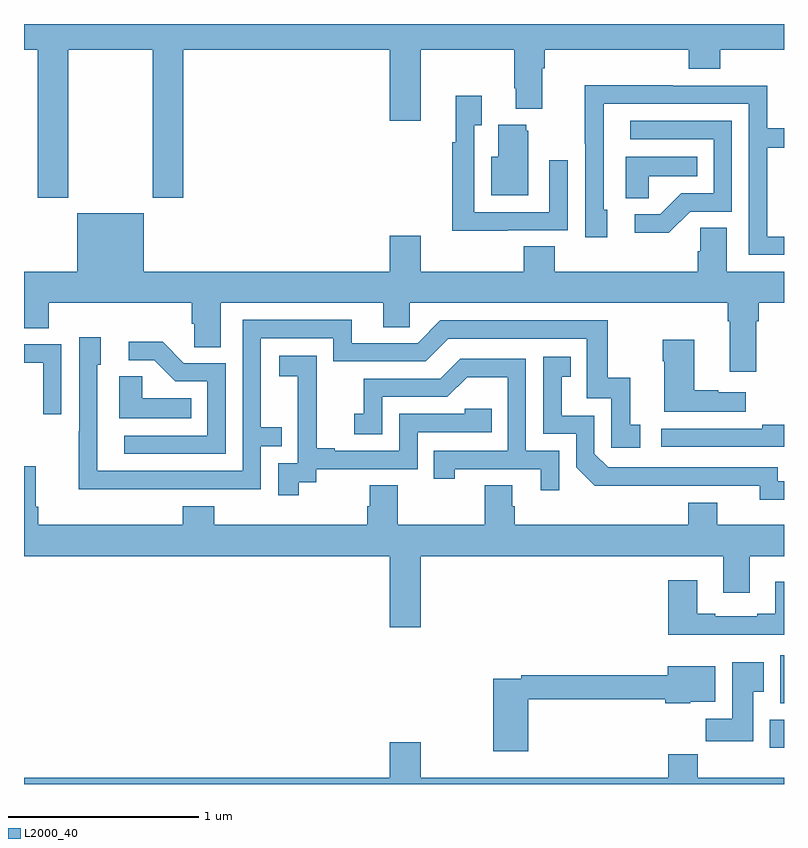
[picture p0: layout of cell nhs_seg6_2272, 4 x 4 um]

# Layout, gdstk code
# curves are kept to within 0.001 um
import gdstk
lib = gdstk.Library(unit=1e-6, precision=1e-09)
def R(c, l, rs):  # rectangles x0, y0, x1, y1
    for r in rs: c.add(gdstk.rectangle(r[:2], r[2:], *l))
def P(c, l, *ps):  # polygons
    for p in ps: c.add(gdstk.Polygon(p, *l))
L2000_40 = (2000, 40)

nhs_seg6_2272 = lib.new_cell('nhs_seg6_2272')
R(nhs_seg6_2272, L2000_40, [(250.925,915.692,251,915.838), (250.979,915.926,251,916.177)])
P(nhs_seg6_2272, L2000_40, [(247.233,919.364),(247.678,919.364),(247.678,918.585),(247.838,918.585),(247.838,919.364),(248.924,919.364),(248.924,918.99),(249.088,918.99),(249.088,919.364),(249.58,919.364),(249.58,919.162),(249.587,919.162),(249.587,919.055),(249.727,919.055),(249.727,919.268),(249.74,919.268),(249.74,919.364),(250.499,919.364),(250.499,919.265),(250.664,919.265),(250.664,919.364),(251,919.364),(251,919.5),(247,919.5),(247,919.364),(247.073,919.364),(247.073,918.585),(247.233,918.585)],
  [(251,918.381),(250.911,918.381),(250.911,918.85),(251,918.85),(251,918.951),(250.911,918.951),(250.911,919.176),(250.415,919.176),(250.415,919.178),(249.952,919.178),(249.952,918.871),(249.954,918.871),(249.954,918.378),(250.069,918.378),(250.069,918.522),(250.05,918.522),(250.05,919.08),(250.815,919.08),(250.815,918.285),(251,918.285)],
  [(249.545,918.414),(249.861,918.414),(249.861,918.784),(249.765,918.784),(249.765,918.51),(249.369,918.51),(249.369,918.967),(249.409,918.967),(249.409,919.123),(249.272,919.123),(249.272,918.878),(249.253,918.878),(249.253,918.413),(249.545,918.413)],
  [(250.506,918.513),(250.725,918.513),(250.725,918.99),(250.191,918.99),(250.191,918.894),(250.629,918.894),(250.629,918.609),(250.46,918.609),(250.349,918.498),(250.215,918.498),(250.215,918.401),(250.393,918.401)],
  [(249.655,918.939),(249.644,918.939),(249.644,918.97),(249.497,918.97),(249.497,918.802),(249.458,918.802),(249.458,918.599),(249.655,918.599)],
  [(250.287,918.698),(250.544,918.698),(250.544,918.802),(250.166,918.802),(250.166,918.583),(250.287,918.583)],
  [(250.855,917.936),(250.868,917.936),(250.868,918.032),(251,918.032),(251,918.196),(250.699,918.196),(250.699,918.428),(250.56,918.428),(250.56,918.305),(250.547,918.305),(250.547,918.196),(249.794,918.196),(249.794,918.329),(249.629,918.329),(249.629,918.196),(249.088,918.196),(249.088,918.385),(248.924,918.385),(248.924,918.196),(247.63,918.196),(247.63,918.505),(247.28,918.505),(247.28,918.196),(247,918.196),(247,917.899),(247.13,917.899),(247.13,918.032),(247.883,918.032),(247.883,917.923),(247.896,917.923),(247.896,917.8),(248.035,917.8),(248.035,918.032),(248.891,918.032),(248.891,917.905),(249.03,917.905),(249.03,918.032),(250.703,918.032),(250.703,917.936),(250.715,917.936),(250.715,917.67),(250.855,917.67)],
  [(247.751,917.052),(248.247,917.052),(248.247,917.277),(248.357,917.277),(248.357,917.378),(248.247,917.378),(248.247,917.847),(248.628,917.847),(248.628,917.724),(249.114,917.724),(249.234,917.844),(249.963,917.844),(249.963,917.529),(250.092,917.529),(250.092,917.271),(250.243,917.271),(250.243,917.391),(250.19,917.391),(250.19,917.638),(250.072,917.638),(250.072,917.94),(249.192,917.94),(249.072,917.82),(248.725,917.82),(248.725,917.943),(248.151,917.943),(248.151,917.148),(247.386,917.148),(247.386,917.706),(247.405,917.706),(247.405,917.851),(247.29,917.851),(247.29,917.357),(247.288,917.357),(247.288,917.051)],
  [(250.798,917.563),(250.655,917.563),(250.655,917.573),(250.528,917.573),(250.528,917.839),(250.363,917.839),(250.363,917.726),(250.37,917.726),(250.37,917.459),(250.798,917.459)],
  [(248.061,917.715),(247.842,917.715),(247.729,917.828),(247.551,917.828),(247.551,917.73),(247.685,917.73),(247.796,917.619),(247.965,917.619),(247.965,917.334),(247.527,917.334),(247.527,917.238),(248.061,917.238)],
  [(247.197,917.814),(247,917.814),(247,917.718),(247.101,917.718),(247.101,917.445),(247.197,917.445)],
  [(248.446,917.089),(248.538,917.089),(248.538,917.157),(249.072,917.157),(249.072,917.352),(249.461,917.352),(249.461,917.475),(249.321,917.475),(249.321,917.448),(248.976,917.448),(248.976,917.253),(248.635,917.253),(248.635,917.266),(248.54,917.266),(248.54,917.549),(248.541,917.549),(248.541,917.755),(248.343,917.755),(248.343,917.645),(248.441,917.645),(248.441,917.417),(248.442,917.417),(248.442,917.187),(248.337,917.187),(248.337,917.019),(248.446,917.019)],
  [(251,917.094),(250.968,917.094),(250.968,917.166),(250.074,917.166),(250.002,917.238),(250.002,917.439),(249.829,917.439),(249.829,917.643),(249.878,917.643),(249.878,917.749),(249.732,917.749),(249.732,917.343),(249.906,917.343),(249.906,917.166),(250.004,917.069),(250.872,917.07),(250.872,916.997),(251,916.997)],
  [(249.816,917.253),(249.642,917.253),(249.642,917.739),(249.296,917.739),(249.191,917.634),(248.788,917.634),(248.788,917.449),(248.739,917.449),(248.739,917.34),(248.886,917.34),(248.886,917.538),(249.228,917.538),(249.332,917.642),(249.546,917.642),(249.546,917.253),(249.157,917.253),(249.157,917.106),(249.268,917.106),(249.268,917.157),(249.719,917.157),(249.719,917.046),(249.816,917.046)],
  [(247.88,917.53),(247.623,917.53),(247.623,917.645),(247.502,917.645),(247.502,917.426),(247.88,917.426)],
  [(251,917.39),(250.885,917.39),(250.885,917.37),(250.353,917.37),(250.353,917.274),(251,917.274)],
  [(249.088,916.7),(250.679,916.7),(250.679,916.506),(250.819,916.506),(250.819,916.7),(251,916.7),(251,916.864),(250.648,916.864),(250.648,916.981),(250.496,916.981),(250.496,916.864),(249.584,916.864),(249.584,916.962),(249.571,916.962),(249.571,917.072),(249.424,917.072),(249.424,916.864),(248.967,916.864),(248.967,917.072),(248.819,917.072),(248.819,916.962),(248.807,916.962),(248.807,916.864),(248,916.864),(248,916.963),(247.835,916.963),(247.835,916.864),(247.076,916.864),(247.076,916.96),(247.063,916.96),(247.063,917.173),(247,917.173),(247,916.7),(248.924,916.7),(248.924,916.326),(249.088,916.326)],
  [(251,916.564),(250.955,916.564),(250.955,916.396),(250.859,916.396),(250.859,916.383),(250.639,916.383),(250.639,916.396),(250.543,916.396),(250.543,916.573),(250.391,916.573),(250.391,916.286),(251,916.286)],
  [(250.837,915.985),(250.894,915.985),(250.894,916.141),(250.727,916.141),(250.727,915.844),(250.588,915.844),(250.588,915.726),(250.837,915.726)],
  [(249.653,915.945),(250.376,915.945),(250.376,915.926),(250.506,915.926),(250.506,915.932),(250.639,915.932),(250.639,916.12),(250.388,916.12),(250.388,916.073),(249.616,916.073),(249.616,916.053),(249.47,916.053),(249.47,915.672),(249.653,915.672)],
  [(251,915.532),(250.547,915.532),(250.547,915.656),(250.391,915.656),(250.391,915.532),(249.088,915.532),(249.088,915.721),(248.924,915.721),(248.924,915.532),(247,915.532),(247,915.5),(251,915.5)])

lib.write_gds('nhs_seg6_2272.gds')
